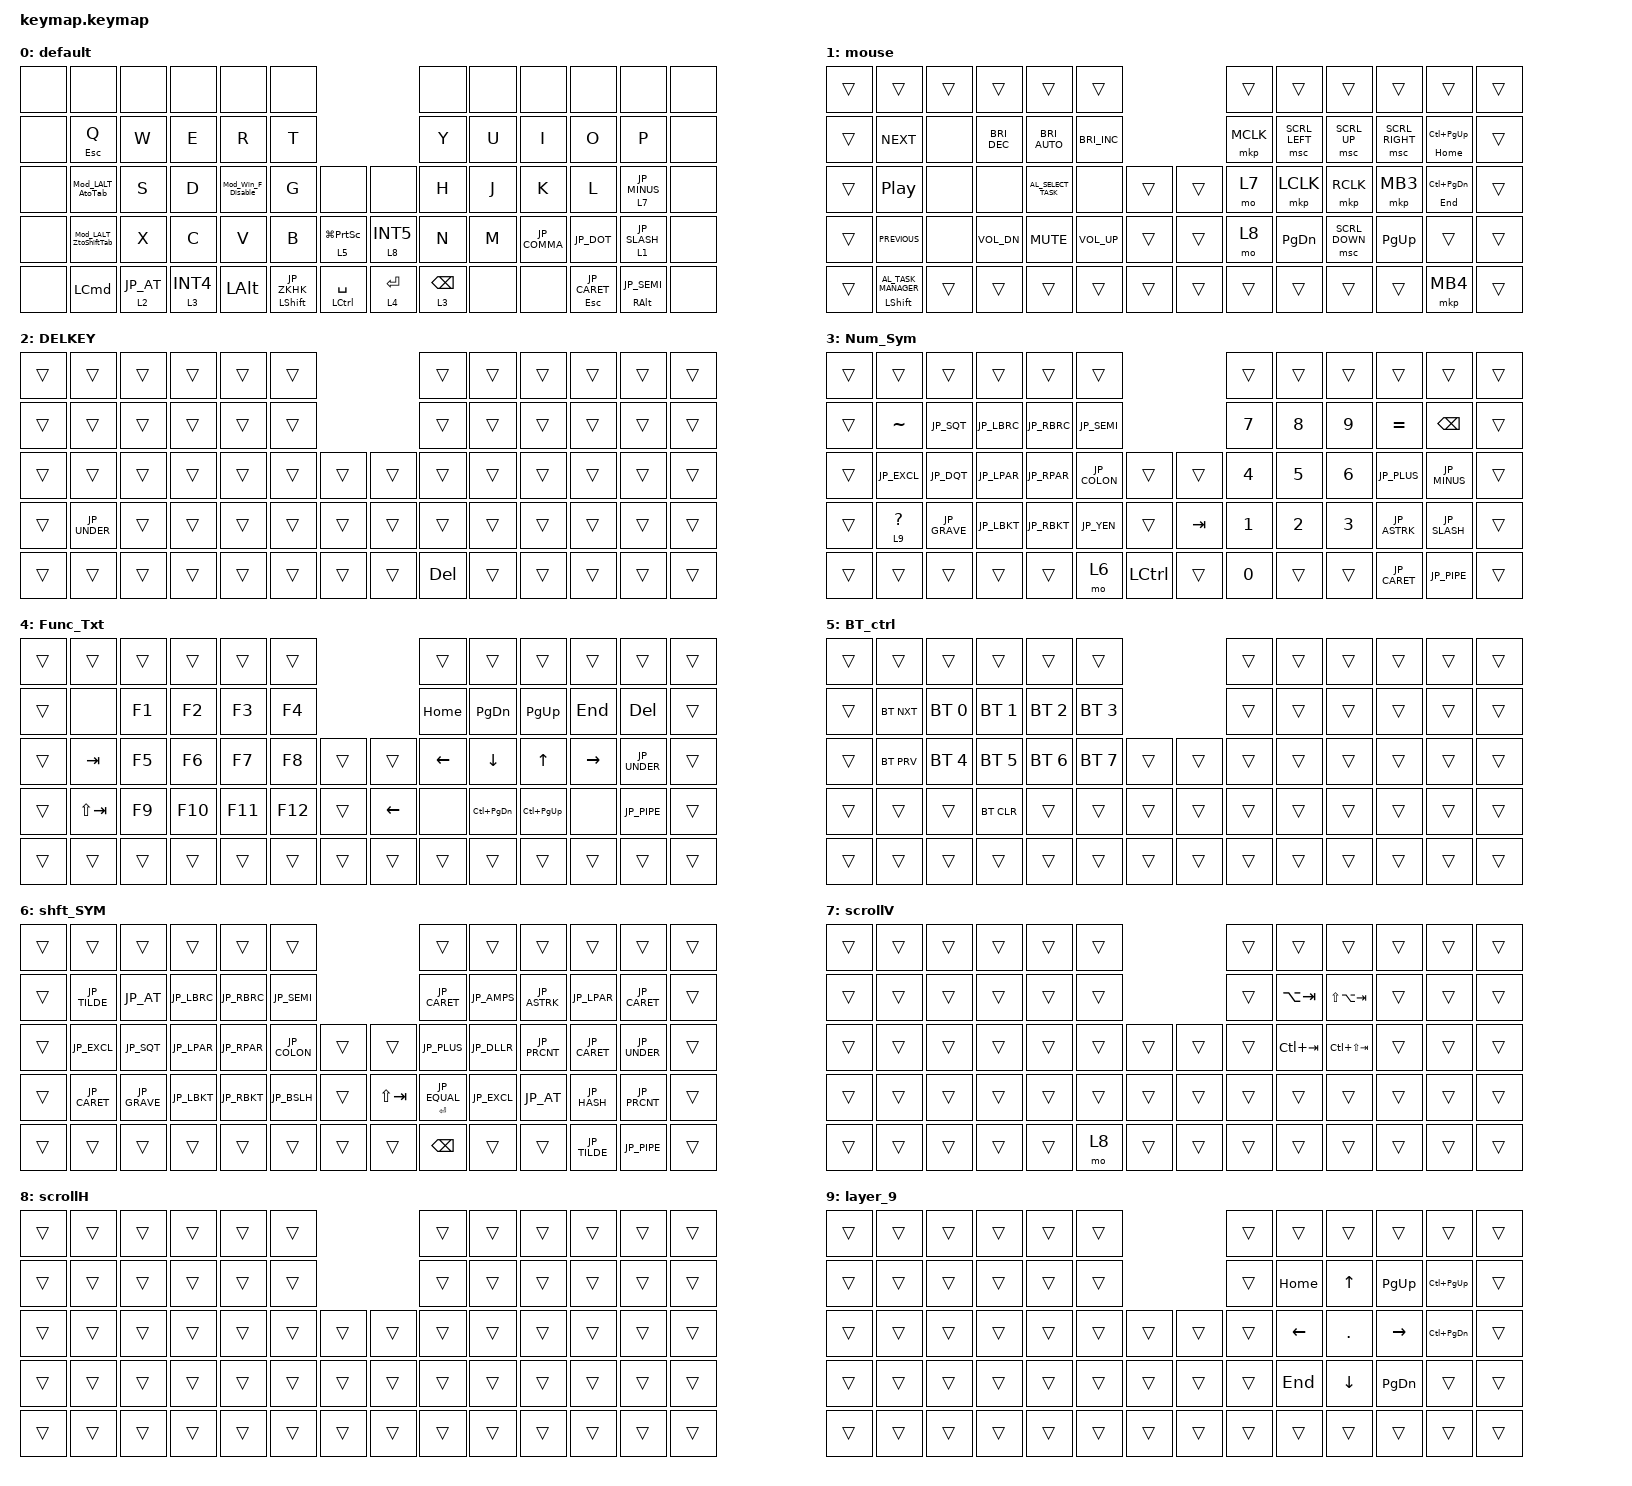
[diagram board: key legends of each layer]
#include "unicode.h"
#include "keycode_japanese.h"
#include <input/processors.dtsi>
#include <behaviors.dtsi>
#include <dt-bindings/zmk/bt.h>
#include <dt-bindings/zmk/keys.h>
#include <dt-bindings/zmk/pointing.h>

&mmv {
};

&msc {
    acceleration-exponent = <1>;
    time-to-max-speed-ms = <400>;
    delay-ms = <0>;
};

/ {
    combos {
        compatible = "zmk,combos";

        bt_clear {
            bindings = <&bt BT_CLR_ALL>;
            key-positions = <57 41>;
            layers = <5>;
        };

        BStoDel {
            bindings = <&kp DELETE>;
            key-positions = <57 60>;
            layers = <0>;
        };
    };

    macros {
        // Lキー専用マクロ：レイヤー8への切り替えとAlt保持を同時に行う
        // Jキー（Ctrl+Tab）用マクロ：Altが干渉しないように一時的に解放する
        // Kキー（Ctrl+Shift+Tab）用マクロ
    };

    // ==========================================
    // カスタム挙動の定義部屋（単打と長押しの分岐）
    // ==========================================

    behaviors {
        Mod_Win_F_Disable: Mod_Win_F_Disable {
            compatible = "zmk,behavior-mod-morph";
            label = "Mod_Win_F_Disable";
            bindings = <&kp F>, <&none>;

            #binding-cells = <0>;
            mods = <(MOD_LGUI)>;
        };

        Mod_LALT_AtoTab: Mod_LALT_AtoTab {
            compatible = "zmk,behavior-mod-morph";
            label = "MOD_LALT_ATOTAB";
            bindings = <&kp A>, <&kp TAB>;

            #binding-cells = <0>;
            mods = <(MOD_LALT)>;
            keep-mods = <(MOD_LALT)>;
        };

        Mod_LALT_ZtoShiftTab: Mod_LALT_ZtoShiftTab {
            compatible = "zmk,behavior-mod-morph";
            label = "MOD_LALT_ZTOSHIFTTAB";
            bindings = <&kp Z>, <&kp LS(TAB)>;

            #binding-cells = <0>;
            mods = <(MOD_LALT)>;
            keep-mods = <(MOD_LALT)>;
        };

        ModLSHIFT_BStoDEL: ModLSHIFT_BStoDEL {
            compatible = "zmk,behavior-mod-morph";
            label = "MODLSHIFT_BSTODEL";
            bindings = <&kp BACKSPACE>, <&kp DELETE>;

            #binding-cells = <0>;
            mods = <(MOD_LSFT)>;
        };
    };

    keymap {
        compatible = "zmk,keymap";

        // Layer 0 default

        default {
            bindings = <
&none  &none                  &none        &none          &none         &none                                                    &none            &none  &none         &none                &none                  &none
&none  &mt ESC Q              &kp W        &kp E          &kp R         &kp T                                                    &kp Y            &kp U  &kp I         &kp O                &kp P                  &none
&none  &Mod_LALT_AtoTab       &kp S        &kp D          &Mod_Win_F_Disable   &kp G                &none                  &none        &kp H            &kp J  &kp K         &kp L                &lt 7 JP_MINUS         &none
&none  &Mod_LALT_ZtoShiftTab  &kp X        &kp C          &kp V         &kp B                &lt 5 LG(PRINTSCREEN)  &lt 8 INT5   &kp N            &kp M  &kp JP_COMMA  &kp JP_DOT           &lt 1 JP_SLASH         &none
&none  &kp LCMD               &lt 2 JP_AT  &lt 3 INT4     &kp LEFT_ALT  &mt LEFT_SHIFT JP_ZKHK  &mt LCTRL SPACE        &lt 4 ENTER  &lt 3 BACKSPACE  &none  &none         &mt ESCAPE JP_CARET  &mt RIGHT_ALT JP_SEMI  &none
            >;
        };

        // Layer 1 Mouse

        Mouse {
            bindings = <
&trans  &trans                            &trans  &trans         &trans                &trans                                &trans     &trans          &trans          &trans           &trans                 &trans
&trans  &kp C_NEXT                        &none   &kp C_BRI_DEC  &kp C_BRI_AUTO        &kp C_BRIGHTNESS_INC                  &mkp MCLK  &msc SCRL_LEFT  &msc SCRL_UP    &msc SCRL_RIGHT  &mt HOME LC(PAGE_UP)   &trans
&trans  &kp C_PLAY_PAUSE                  &none   &none          &kp C_AL_SELECT_TASK  &none                 &trans  &trans  &mo 7      &mkp LCLK       &mkp RCLK       &mkp MB3         &mt END LC(PAGE_DOWN)  &trans
&trans  &kp C_PREVIOUS                    &none   &kp C_VOL_DN   &kp K_MUTE            &kp C_VOLUME_UP       &trans  &trans  &mo 8      &kp PAGE_DOWN   &msc SCRL_DOWN  &kp PAGE_UP      &trans                 &trans
&trans  &mt LEFT_SHIFT C_AL_TASK_MANAGER  &trans  &trans         &trans                &trans                &trans  &trans  &trans     &trans          &trans          &trans           &mkp MB4               &trans
            >;

            label = "mouse";
        };

        // Layer 2 DELKEY

        DELKEY {
            bindings = <
&trans  &trans        &trans  &trans  &trans  &trans                  &trans   &trans  &trans  &trans  &trans  &trans
&trans  &trans        &trans  &trans  &trans  &trans                  &trans   &trans  &trans  &trans  &trans  &trans
&trans  &trans        &trans  &trans  &trans  &trans  &trans  &trans  &trans   &trans  &trans  &trans  &trans  &trans
&trans  &kp JP_UNDER  &trans  &trans  &trans  &trans  &trans  &trans  &trans   &trans  &trans  &trans  &trans  &trans
&trans  &trans        &trans  &trans  &trans  &trans  &trans  &trans  &kp DEL  &trans  &trans  &trans  &trans  &trans
            >;
        };

        // Layer 3 Num_Sym

        Num_Sym {
            bindings = <
&trans  &trans          &trans        &trans       &trans       &trans                            &trans  &trans  &trans  &trans        &trans         &trans
&trans  &kp TILDE       &kp JP_SQT    &kp JP_LBRC  &kp JP_RBRC  &kp JP_SEMI                       &kp N7  &kp N8  &kp N9  &kp EQUAL     &kp BACKSPACE  &trans
&trans  &kp JP_EXCL     &kp JP_DQT    &kp JP_LPAR  &kp JP_RPAR  &kp JP_COLON  &trans     &trans   &kp N4  &kp N5  &kp N6  &kp JP_PLUS     &kp JP_MINUS   &trans
&trans  &lt 9 QUESTION  &kp JP_GRAVE  &kp JP_LBKT  &kp JP_RBKT  &kp JP_YEN    &trans     &kp TAB  &kp N1  &kp N2  &kp N3  &kp JP_ASTRK   &kp JP_SLASH   &trans
&trans  &trans          &trans        &trans       &trans       &mo 6         &kp LCTRL  &trans   &kp N0  &trans  &trans  &kp JP_CARET  &kp JP_PIPE    &trans
            >;
        };

        // Layer 4 Func_Txt

        Func_Txt {
            bindings = <
&trans  &trans       &trans  &trans   &trans   &trans                           &trans    &trans         &trans         &trans     &trans        &trans
&trans  &none        &kp F1  &kp F2   &kp F3   &kp F4                           &kp HOME  &kp PAGE_DOWN  &kp PG_UP      &kp END    &kp DEL      &trans
&trans  &kp TAB      &kp F5  &kp F6   &kp F7   &kp F8   &trans  &trans          &kp LEFT  &kp DOWN       &kp UP         &kp RIGHT  &kp JP_UNDER  &trans
&trans  &kp LS(TAB)  &kp F9  &kp F10  &kp F11  &kp F12  &trans  &kp LEFT_ARROW  &none     &kp LC(PG_DN)  &kp LC(PG_UP)  &none      &kp JP_PIPE   &trans
&trans  &trans       &trans  &trans   &trans   &trans   &trans  &trans          &trans    &trans         &trans         &trans     &trans        &trans
            >;
        };

        // Layer 5 BT_ctrl

        BT_ctrl {
            bindings = <
&trans  &trans      &trans        &trans        &trans        &trans                        &trans  &trans  &trans  &trans  &trans  &trans
&trans  &bt BT_NXT  &bt BT_SEL 0  &bt BT_SEL 1  &bt BT_SEL 2  &bt BT_SEL 3                  &trans  &trans  &trans  &trans  &trans  &trans
&trans  &bt BT_PRV  &bt BT_SEL 4  &bt BT_SEL 5  &bt BT_SEL 6  &bt BT_SEL 7  &trans  &trans  &trans  &trans  &trans  &trans  &trans  &trans
&trans  &trans      &trans        &bt BT_CLR    &trans        &trans        &trans  &trans  &trans  &trans  &trans  &trans  &trans  &trans
&trans  &trans      &trans        &trans        &trans        &trans        &trans  &trans  &trans  &trans  &trans  &trans  &trans  &trans
            >;
        };

        // Layer 6 shft_SYM

        shft_SYM {
            bindings = <
&trans  &trans        &trans        &trans       &trans       &trans                             &trans              &trans       &trans        &trans        &trans        &trans
&trans  &kp JP_TILDE  &kp JP_AT     &kp JP_LBRC  &kp JP_RBRC  &kp JP_SEMI                        &kp JP_CARET        &kp JP_AMPS  &kp JP_ASTRK  &kp JP_LPAR   &kp JP_CARET  &trans
&trans  &kp JP_EXCL   &kp JP_SQT    &kp JP_LPAR  &kp JP_RPAR  &kp JP_COLON  &trans  &trans       &kp JP_PLUS         &kp JP_DLLR  &kp JP_PRCNT  &kp JP_CARET  &kp JP_UNDER  &trans
&trans  &kp JP_CARET  &kp JP_GRAVE  &kp JP_LBKT  &kp JP_RBKT  &kp JP_BSLH   &trans  &kp LS(TAB)  &mt ENTER JP_EQUAL  &kp JP_EXCL  &kp JP_AT     &kp JP_HASH   &kp JP_PRCNT  &trans
&trans  &trans        &trans        &trans       &trans       &trans        &trans  &trans       &kp BACKSPACE       &trans       &trans        &kp JP_TILDE  &kp JP_PIPE   &trans
            >;
        };

        // Layer 7 scrollL

        scrollV {
            bindings = <
&trans  &trans  &trans  &trans  &trans  &trans                  &trans  &trans       &trans           &trans  &trans  &trans
&trans  &trans  &trans  &trans  &trans  &trans                  &trans  &kp LA(TAB)  &kp LS(LA(TAB))  &trans  &trans  &trans
&trans  &trans  &trans  &trans  &trans  &trans  &trans  &trans  &trans  &kp LC(TAB)  &kp LC(LS(TAB))  &trans  &trans  &trans
&trans  &trans  &trans  &trans  &trans  &trans  &trans  &trans  &trans  &trans       &trans           &trans  &trans  &trans
&trans  &trans  &trans  &trans  &trans  &mo 8   &trans  &trans  &trans  &trans       &trans           &trans  &trans  &trans
            >;
        };

        // Layer 8 (nav_layer) nav_layer

        scrollH {
            bindings = <
&trans  &trans  &trans  &trans  &trans  &trans                  &trans  &trans  &trans  &trans  &trans  &trans
&trans  &trans  &trans  &trans  &trans  &trans                  &trans  &trans  &trans  &trans  &trans  &trans
&trans  &trans  &trans  &trans  &trans  &trans  &trans  &trans  &trans  &trans  &trans  &trans  &trans  &trans
&trans  &trans  &trans  &trans  &trans  &trans  &trans  &trans  &trans  &trans  &trans  &trans  &trans  &trans
&trans  &trans  &trans  &trans  &trans  &trans  &trans  &trans  &trans  &trans  &trans  &trans  &trans  &trans
            >;
        };

        layer_9 {
            bindings = <
&trans  &trans  &trans  &trans  &trans  &trans                  &trans  &trans    &trans    &trans     &trans             &trans
&trans  &trans  &trans  &trans  &trans  &trans                  &trans  &kp HOME  &kp UP    &kp PG_UP  &kp LC(PG_UP)      &trans
&trans  &trans  &trans  &trans  &trans  &trans  &trans  &trans  &trans  &kp LEFT  &kp DOT   &kp RIGHT  &kp LC(PAGE_DOWN)  &trans
&trans  &trans  &trans  &trans  &trans  &trans  &trans  &trans  &trans  &kp END   &kp DOWN  &kp PG_DN  &trans             &trans
&trans  &trans  &trans  &trans  &trans  &trans  &trans  &trans  &trans  &trans    &trans    &trans     &trans             &trans
            >;
        };
    };
};
